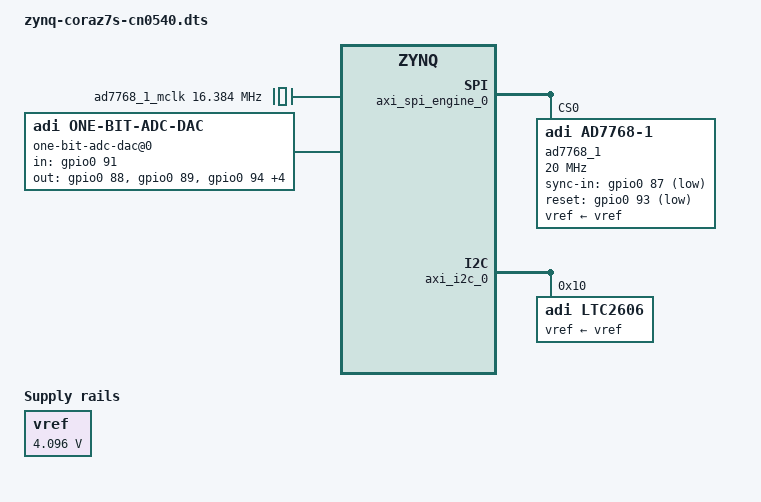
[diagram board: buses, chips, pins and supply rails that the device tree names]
// SPDX-License-Identifier: GPL-2.0
/*
 * Analog Devices AD7768-1
 * https://www.analog.com/en/products/ad7768-1.html
 * https://wiki.analog.com/resources/eval/user-guides/circuits-from-the-lab/cn0540
 * https://wiki.analog.com/resources/eval/user-guides/cn0540
 *
 * hdl_project: <cn0540/coraz7s>
 * board_revision: <A>
 *
 * Copyright (C) 2020 Analog Devices Inc.
 */
/dts-v1/;
#include "zynq-coraz7s.dtsi"
#include <dt-bindings/interrupt-controller/irq.h>
#include <dt-bindings/gpio/gpio.h>

/ {
	vref: regulator-vref {
		compatible = "regulator-fixed";
		regulator-name = "fixed-supply";
		regulator-min-microvolt = <4096000>;
		regulator-max-microvolt = <4096000>;
		regulator-always-on;
	};

	clocks {
		ad7768_1_mclk: clock@0 {
			#clock-cells = <0>;
			compatible = "fixed-clock";
			clock-frequency = <16384000>;
		};
	};

	one-bit-adc-dac@0 {
		compatible = "adi,one-bit-adc-dac";
		#address-cells = <1>;
		#size-cells = <0>;
		in-gpios =  <&gpio0 91 GPIO_ACTIVE_HIGH>;
		out-gpios = <&gpio0 88 GPIO_ACTIVE_HIGH>,
			    <&gpio0 89 GPIO_ACTIVE_HIGH>,
			    <&gpio0 94 GPIO_ACTIVE_HIGH>,
			    <&ad7768_1 0 GPIO_ACTIVE_HIGH>,
			    <&ad7768_1 1 GPIO_ACTIVE_HIGH>,
			    <&ad7768_1 2 GPIO_ACTIVE_HIGH>,
			    <&ad7768_1 3 GPIO_ACTIVE_HIGH>;
		channel@0 {
			reg = <0>;
			label = "cn0540_sw_ff_gpio";
		};
		channel@1 {
			reg = <1>;
			label = "cn0540_red_led";
		};
		channel@2 {
			reg = <2>;
			label = "cn0540_blue_led";
		};
		channel@3 {
			reg = <3>;
			label = "cn0540_shutdown_gpio";
		};
		channel@4 {
			reg = <4>;
			label = "cn0540_ad7768-1-gpio0";
		};
		channel@5 {
			reg = <5>;
			label = "cn0540_ad7768-1-gpio1";
		};
		channel@6 {
			reg = <6>;
			label = "cn0540_FDA_DIS";
		};
		channel@7 {
			reg = <7>;
			label = "cn0540_FDA_MODE";
		};
	};
};

&adc {
	xlnx,channels {
		#address-cells = <0x1>;
		#size-cells = <0x0>;
		channel@0 {
			reg = <0>;
		};
		channel@2 {
			reg = <2>;
		};
		channel@6 {
			reg = <6>;
		};
		channel@7 {
			reg = <7>;
		};
		channel@10 {
			reg = <10>;
		};
		channel@14 {
			reg = <14>;
		};
		channel@16 {
			reg = <16>;
		};
	};
};

&fpga_axi {
	rx_dma: rx-dmac@44a30000 {
		compatible = "adi,axi-dmac-1.00.a";
		reg = <0x44a30000 0x1000>;
		#dma-cells = <1>;
		interrupt-parent = <&intc>;
		interrupts = <0 57 IRQ_TYPE_LEVEL_HIGH>;
		clocks = <&clkc 16>;

		adi,channels {
			#size-cells = <0>;
			#address-cells = <1>;

			dma-channel@0 {
				reg = <0>;
				adi,source-bus-width = <32>;
				adi,source-bus-type = <1>;
				adi,destination-bus-width = <64>;
				adi,destination-bus-type = <0>;
			};
		};
	};

	axi_spi_engine_0: spi@44a00000 {
		compatible = "adi,axi-spi-engine-1.00.a";
		reg = <0x44a00000 0x10000>;
		interrupt-parent = <&intc>;
		interrupts = <0 55 IRQ_TYPE_LEVEL_HIGH>;
		clocks = <&clkc 15 &spi_clk>;
		clock-names = "s_axi_aclk", "spi_clk";
		num-cs = <1>;

		#address-cells = <0x1>;
		#size-cells = <0x0>;

		ad7768_1: adc@0 {
			compatible = "adi,ad7768-1";
			reg = <0>;
			spi-max-frequency = <20000000>;
			spi-cpol;
			spi-cpha;
			vref-supply = <&vref>;
			#gpio-cells = <2>;
			gpio-controller;
			adi,sync-in-gpios = <&gpio0 87 GPIO_ACTIVE_LOW>;
			reset-gpios = <&gpio0 93 GPIO_ACTIVE_LOW>;
			clocks = <&ad7768_1_mclk>;
			clock-names = "mclk";
			dmas = <&rx_dma 0>;
			dma-names = "rx";
			#io-channel-cells = <1>;
		};
	};

	axi_i2c_0:axi-iic@0x44a40000{
		compatible = "xlnx,axi-iic-1.02.a", "xlnx,xps-iic-2.00.a";
		reg = <0x44a40000 0x1000>;
		interrupt-parent = <&intc>;
		interrupts = <0 56 IRQ_TYPE_LEVEL_HIGH>;
		clocks = <&clkc 15>;

		#address-cells = <1>;
		#size-cells = <0>;

		ltc2606: ltc2606@0x10 {
			compatible = "adi,ltc2606";
			reg = <0x10>;
			vref-supply = <&vref>;
		};
	};

	spi_clk: axi-clkgen@0x44a70000 {
		compatible = "adi,axi-clkgen-2.00.a";
		reg = <0x44a70000 0x10000>;
		#clock-cells = <0>;
		clocks = <&clkc 15>, <&clkc 15>;
		clock-names = "s_axi_aclk", "clkin1";
		clock-output-names = "spi_clk";
	};
};
